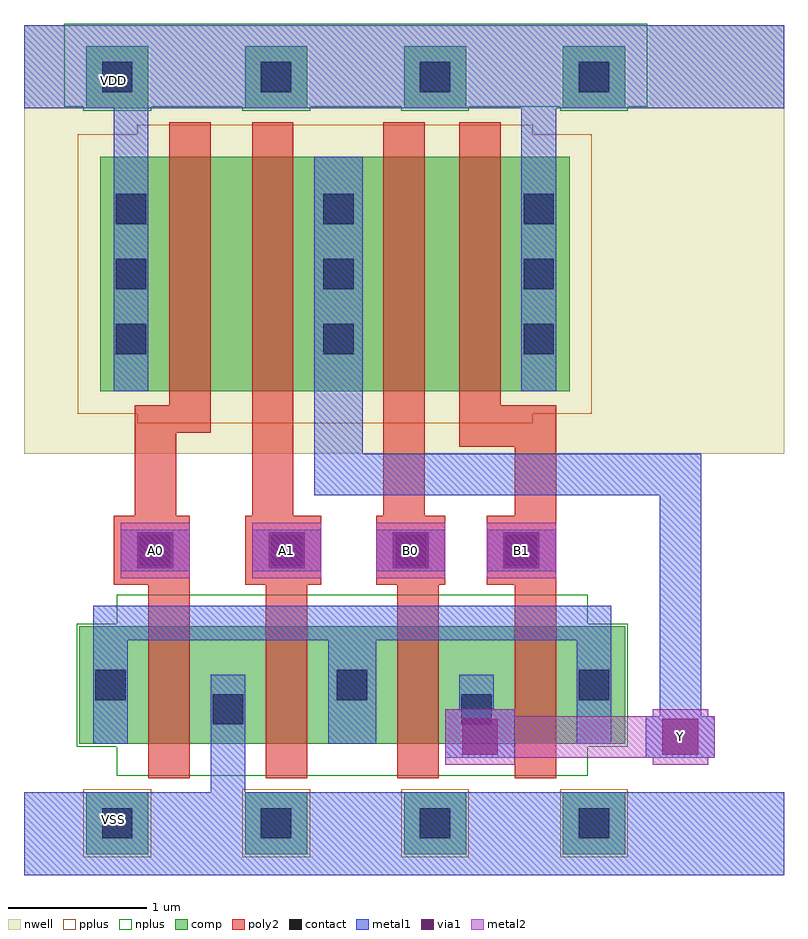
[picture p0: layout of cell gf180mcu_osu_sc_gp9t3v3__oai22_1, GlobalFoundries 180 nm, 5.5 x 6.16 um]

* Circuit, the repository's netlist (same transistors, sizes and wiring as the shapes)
* Copyright 2022 Google LLC
*
* Licensed under the Apache License, Version 2.0 (the "License");
* you may not use this file except in compliance with the License.
* You may obtain a copy of the License at
*
*      http://www.apache.org/licenses/LICENSE-2.0
*
* Unless required by applicable law or agreed to in writing, software
* distributed under the License is distributed on an "AS IS" BASIS,
* WITHOUT WARRANTIES OR CONDITIONS OF ANY KIND, either express or implied.
* See the License for the specific language governing permissions and
* limitations under the License.

.inc "/import/yukari1/lrburle/OSU_180/char/techfiles/design.hspice"
.lib "/import/yukari1/lrburle/OSU_180/char/techfiles/sm141064.hspice" typical

.GLOBAL VDD
.GLOBAL VSS

.option scale=0.05u

.subckt gf180mcu_osu_sc_gp9t3v3__oai22_1 Y A0 A1
X0 a_27_70 A0 VDD VDD pmos_3p3 w=34 l=6
X1 Y A1 a_27_70 VDD pmos_3p3 w=34 l=6
X2 Y B0 a_8_19 VSS nmos_3p3 w=17 l=6
X3 VSS A0 a_8_19 VSS nmos_3p3 w=17 l=6
X4 a_58_70 B0 Y VDD pmos_3p3 w=34 l=6
X5 VDD B1 a_58_70 VDD pmos_3p3 w=34 l=6
X6 a_8_19 B1 Y VSS nmos_3p3 w=17 l=6
X7 a_8_19 A1 VSS VSS nmos_3p3 w=17 l=6
.ends

** hspice subcircuit dictionary

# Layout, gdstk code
import gdstk
lib = gdstk.Library(unit=1e-6, precision=1e-09)
def R(c, l, rs):  # rectangles x0, y0, x1, y1
    for r in rs: c.add(gdstk.rectangle(r[:2], r[2:], *l))
def A(c, l, x, y, w, h, nx, ny, dx, dy):  # array of equal rectangles
    R(c, l, [(x+i*dx, y+j*dy, x+i*dx+w, y+j*dy+h) for i in range(nx) for j in range(ny)])
nwell = (21, 0)
comp = (22, 0)
poly2 = (30, 0)
pplus = (31, 0)
nplus = (32, 0)
contact = (33, 0)
metal1 = (34, 0)
via1 = (35, 0)
metal2 = (36, 0)

gf180mcu_osu_sc_gp9t3v3_ = lib.new_cell('gf180mcu_osu_sc_gp9t3v3__oai22_1')
R(gf180mcu_osu_sc_gp9t3v3_, nwell, [(0,3.05,5.5,6.15)])
A(gf180mcu_osu_sc_gp9t3v3_, comp, 0.45, 0.15, 0.45, 0.45, 4, 2, 1.15, 5.4)
R(gf180mcu_osu_sc_gp9t3v3_, comp, [(0.4,0.95,4.35,1.8), (0.55,3.5,3.95,5.2)])
R(gf180mcu_osu_sc_gp9t3v3_, poly2, [(0.9,0.7,1.2,2.1), (1.75,0.7,2.05,2.1), (2.7,0.7,3,2.1), (3.55,0.7,3.85,2.1), (0.65,2.1,1.2,2.6), (1.6,2.1,2.15,2.6), (2.55,2.1,3.05,2.6), (3.35,2.1,3.85,2.6), (0.8,2.6,1.1,3.2), (1.65,2.6,1.95,5.45), (2.6,2.6,2.9,5.45), (3.55,2.6,3.85,3.1), (3.15,3.1,3.85,3.4), (0.8,3.2,1.35,3.4), (1.05,3.4,1.35,5.45), (3.15,3.4,3.45,5.45)])
A(gf180mcu_osu_sc_gp9t3v3_, pplus, 0.43, 0.13, 0.49, 0.49, 4, 1, 1.15, 0)
R(gf180mcu_osu_sc_gp9t3v3_, pplus, [(0.82,3.27,3.68,3.34), (0.39,3.34,4.11,5.36), (0.82,5.36,3.68,5.43)])
A(gf180mcu_osu_sc_gp9t3v3_, nplus, 0.43, 5.53, 0.49, 0.03, 4, 1, 1.15, 0)
R(gf180mcu_osu_sc_gp9t3v3_, nplus, [(0.67,0.72,4.08,0.93), (0.38,0.93,4.37,1.82), (0.67,1.82,4.08,2.03), (0.29,5.56,4.51,6.16)])
A(gf180mcu_osu_sc_gp9t3v3_, contact, 0.565, 0.265, 0.22, 0.22, 4, 2, 1.15, 5.4)
A(gf180mcu_osu_sc_gp9t3v3_, contact, 0.515, 1.265, 0.22, 0.22, 3, 1, 1.75, 0)
A(gf180mcu_osu_sc_gp9t3v3_, contact, 0.665, 3.77, 0.22, 0.22, 1, 3, 0, 0.47)
A(gf180mcu_osu_sc_gp9t3v3_, contact, 2.165, 3.77, 0.22, 0.22, 1, 3, 0, 0.47)
A(gf180mcu_osu_sc_gp9t3v3_, contact, 3.615, 3.77, 0.22, 0.22, 1, 3, 0, 0.47)
R(gf180mcu_osu_sc_gp9t3v3_, contact, [(1.365,1.09,1.585,1.31), (3.165,1.09,3.385,1.31), (0.84,2.24,1.06,2.46), (1.79,2.24,2.01,2.46), (2.69,2.24,2.91,2.46), (3.49,2.24,3.71,2.46)])
R(gf180mcu_osu_sc_gp9t3v3_, metal1, [(0,0,5.5,0.6), (1.35,0.6,1.6,1.45), (3.05,0.85,3.55,1.2), (4.5,0.85,5,1.15), (0.5,0.95,0.75,1.7), (2.2,0.95,2.55,1.7), (4,0.95,4.25,1.7), (4.6,1.15,4.9,2.75), (3.15,1.2,3.4,1.45), (0.5,1.7,4.25,1.95), (0.7,2.2,1.2,2.5), (1.65,2.2,2.15,2.5), (2.55,2.2,3.05,2.5), (3.35,2.2,3.85,2.5), (2.1,2.75,4.9,3.05), (2.1,3.05,2.45,5.2), (0.65,3.5,0.9,5.55), (3.6,3.5,3.85,5.55), (0,5.55,5.5,6.15)])
R(gf180mcu_osu_sc_gp9t3v3_, via1, [(3.17,0.87,3.43,1.13), (4.62,0.87,4.88,1.13), (0.82,2.22,1.08,2.48), (1.77,2.22,2.03,2.48), (2.67,2.22,2.93,2.48), (3.47,2.22,3.73,2.48)])
R(gf180mcu_osu_sc_gp9t3v3_, metal2, [(3.05,0.8,3.55,0.85), (4.55,0.8,4.95,0.85), (3.05,0.85,5,1.15), (3.05,1.15,3.55,1.2), (4.55,1.15,4.95,1.2), (0.7,2.15,1.2,2.55), (1.65,2.15,2.15,2.55), (2.55,2.15,3.05,2.55), (3.35,2.15,3.85,2.55)])
gf180mcu_osu_sc_gp9t3v3_.add(gdstk.Label('VDD', (0.65,5.75), layer=34, texttype=0))
gf180mcu_osu_sc_gp9t3v3_.add(gdstk.Label('VSS', (0.65,0.4), layer=34, texttype=0))
gf180mcu_osu_sc_gp9t3v3_.add(gdstk.Label('B1', (3.6,2.35), layer=36, texttype=0))
gf180mcu_osu_sc_gp9t3v3_.add(gdstk.Label('B0', (2.8,2.35), layer=36, texttype=0))
gf180mcu_osu_sc_gp9t3v3_.add(gdstk.Label('Y', (4.75,1), layer=36, texttype=10))
gf180mcu_osu_sc_gp9t3v3_.add(gdstk.Label('A0', (0.95,2.35), layer=36, texttype=10))
gf180mcu_osu_sc_gp9t3v3_.add(gdstk.Label('A1', (1.9,2.35), layer=36, texttype=10))

lib.write_gds('gf180mcu_osu_sc_gp9t3v3__oai22_1.gds')
